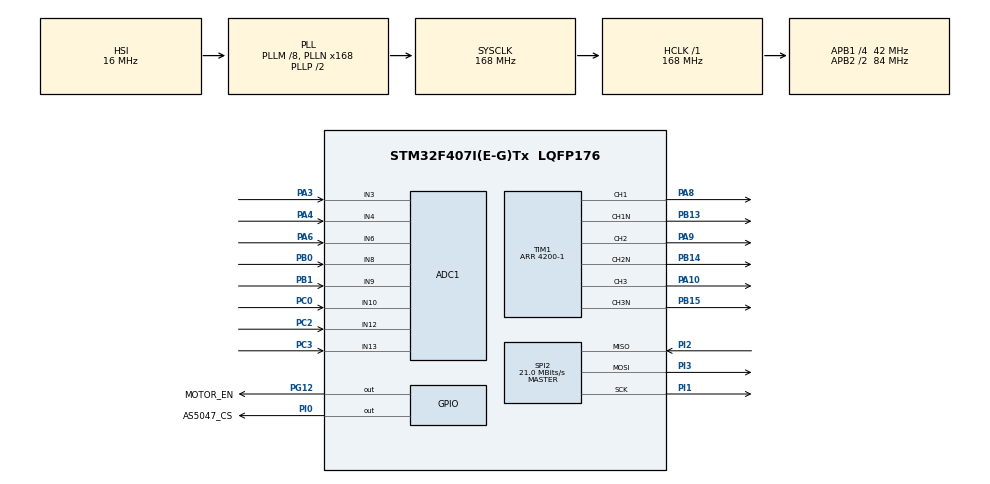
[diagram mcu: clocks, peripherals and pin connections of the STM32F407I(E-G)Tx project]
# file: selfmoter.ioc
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ADC1.Channel-0\#ChannelRegularConversion=ADC_CHANNEL_4
ADC1.NbrOfConversionFlag=1
ADC1.Rank-0\#ChannelRegularConversion=1
ADC1.SamplingTime-0\#ChannelRegularConversion=ADC_SAMPLETIME_3CYCLES
ADC1.master=1
Mcu.Family=STM32F4
Mcu.Name=STM32F407I(E-G)Tx
Mcu.Package=LQFP176
NVIC.PriorityGroup=NVIC_PRIORITYGROUP_4
NVIC.TIM6_DAC_IRQn=true\:0\:0\:false\:false\:true\:true\:true\:true
PA10.Signal=S_TIM1_CH3
PA13.Mode=Serial_Wire
PA13.Signal=SYS_JTMS-SWDIO
PA14.Mode=Serial_Wire
PA14.Signal=SYS_JTCK-SWCLK
PA3.Signal=ADCx_IN3
PA4.Signal=ADCx_IN4
PA6.Signal=ADCx_IN6
PA8.Signal=S_TIM1_CH1
PA9.Signal=S_TIM1_CH2
PB0.Signal=ADCx_IN8
PB1.Signal=ADCx_IN9
PB13.Mode=PWM Generation1 CH1 CH1N
PB13.Signal=TIM1_CH1N
PB14.Mode=PWM Generation2 CH2 CH2N
PB14.Signal=TIM1_CH2N
PB15.Mode=PWM Generation3 CH3 CH3N
PB15.Signal=TIM1_CH3N
PC0.Signal=ADCx_IN10
PC14-OSC32_IN.Mode=LSE-External-Oscillator
PC14-OSC32_IN.Signal=RCC_OSC32_IN
PC15-OSC32_OUT.Mode=LSE-External-Oscillator
PC15-OSC32_OUT.Signal=RCC_OSC32_OUT
PC2.Signal=ADCx_IN12
PC3.Signal=ADCx_IN13
PG12.GPIO_Label=MOTOR_EN
PG12.Signal=GPIO_Output
PH0-OSC_IN.Mode=HSE-External-Oscillator
PH0-OSC_IN.Signal=RCC_OSC_IN
PH1-OSC_OUT.Mode=HSE-External-Oscillator
PH1-OSC_OUT.Signal=RCC_OSC_OUT
PI0.GPIO_Label=AS5047_CS
PI0.GPIO_Speed=GPIO_SPEED_FREQ_VERY_HIGH
PI0.PinState=GPIO_PIN_SET
PI0.Signal=GPIO_Output
PI1.Mode=Full_Duplex_Master
PI1.Signal=SPI2_SCK
PI2.Mode=Full_Duplex_Master
PI2.Signal=SPI2_MISO
PI3.Mode=Full_Duplex_Master
PI3.Signal=SPI2_MOSI
ProjectManager.HeapSize=0x200
ProjectManager.StackSize=0x400
ProjectManager.TargetToolchain=MDK-ARM V5.32
RCC.48MHZClocksFreq_Value=84000000
RCC.AHBFreq_Value=168000000
RCC.APB1CLKDivider=RCC_HCLK_DIV4
RCC.APB1Freq_Value=42000000
RCC.APB1TimFreq_Value=84000000
RCC.APB2CLKDivider=RCC_HCLK_DIV2
RCC.APB2Freq_Value=84000000
RCC.APB2TimFreq_Value=168000000
RCC.CortexFreq_Value=168000000
RCC.HCLKFreq_Value=168000000
RCC.HSE_VALUE=25000000
RCC.HSI_VALUE=16000000
RCC.PLLM=8
RCC.PLLN=168
RCC.SYSCLKFreq_VALUE=168000000
RCC.SYSCLKSource=RCC_SYSCLKSOURCE_PLLCLK
RCC.VCOOutputFreq_Value=336000000
SH.ADCx_IN10.0=ADC1_IN10,IN10
SH.ADCx_IN12.0=ADC1_IN12,IN12
SH.ADCx_IN13.0=ADC1_IN13,IN13
SH.ADCx_IN3.0=ADC1_IN3,IN3
SH.ADCx_IN4.0=ADC1_IN4,IN4
SH.ADCx_IN6.0=ADC1_IN6,IN6
SH.ADCx_IN8.0=ADC1_IN8,IN8
SH.ADCx_IN9.0=ADC1_IN9,IN9
SH.S_TIM1_CH1.0=TIM1_CH1,PWM Generation1 CH1 CH1N
SH.S_TIM1_CH2.0=TIM1_CH2,PWM Generation2 CH2 CH2N
SH.S_TIM1_CH3.0=TIM1_CH3,PWM Generation3 CH3 CH3N
SPI2.CLKPhase=SPI_PHASE_2EDGE
SPI2.CalculateBaudRate=21.0 MBits/s
SPI2.DataSize=SPI_DATASIZE_16BIT
SPI2.Direction=SPI_DIRECTION_2LINES
SPI2.Mode=SPI_MODE_MASTER
SPI2.VirtualType=VM_MASTER
TIM1.Channel-PWM\ Generation1\ CH1\ CH1N=TIM_CHANNEL_1
TIM1.Channel-PWM\ Generation2\ CH2\ CH2N=TIM_CHANNEL_2
TIM1.Channel-PWM\ Generation3\ CH3\ CH3N=TIM_CHANNEL_3
TIM1.CounterMode=TIM_COUNTERMODE_CENTERALIGNED1
TIM1.Period=4200-1
VP_TIM1_VS_ClockSourceINT.Mode=Internal
VP_TIM6_VS_ClockSourceINT.Mode=Enable_Timer
board=custom

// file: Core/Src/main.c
/* USER CODE BEGIN Header */
/**
  ******************************************************************************
  * @file           : main.c
  * @brief          : Main program body.
  ******************************************************************************
  */
/* USER CODE END Header */

#include "main.h"

/*
 * 程序入口阅读导航
 *
 * 建议按以下顺序阅读本工程：
 * 1. main()：完成 HAL、系统时钟和各外设初始化；
 * 2. FOC 应用初始化：建立电机参数、采样零点、编码器和控制器初始状态；
 * 3. 主循环：处理串口命令、按键和低频状态管理；
 * 4. foc_app.c：根据转矩、速度或位置模式生成本周期的控制目标；
 * 5. foc_motor.c：完成电流采样、坐标变换、电流 PI 和 SVPWM 输出。
 *
 * 高频电流环通常由定时器或 ADC 同步中断驱动，而不是依靠主循环速度。
 * 因此不要在高频控制路径中加入 printf、阻塞延时或复杂计算。
 */
#include "adc.h"
#include "spi.h"
#include "tim.h"
#include "gpio.h"

/* USER CODE BEGIN Includes */
#include <math.h>
#include "bsp.h"
#include "foc_hw.h"
/* USER CODE END Includes */

void SystemClock_Config(void);
static void Diagnostic_SetNeutralPwm(void);
static void Motor_OpenLoop_StopPwm(void);
static float FOC_Wrap_0_2PI(float x);
static float FOC_Wrap_Pi(float x);
static void Diagnostic_SetSinPwm(float electrical_angle,
                                 float phase_voltage,
                                 float bus_voltage);
static void Diagnostic_ResetStepSample(void);
static void Diagnostic_AddStepSample(float enc_elec_raw, float cmd_angle);
static void Diagnostic_SaveStepResult(uint32_t step, float cmd_angle);
static void Diagnostic_UpdateScalarDebug(void);
static void Diagnostic_ResetResults(void);
static uint32_t Diagnostic_GetPhaseMap(void);
static void Diagnostic_CheckPhaseMapChange(void);
static void Diagnostic_UpdateISR(void);
static uint8_t AS5047P_EvenParity(uint16_t value);
static uint16_t AS5047P_MakeReadCmd(uint16_t addr);
static uint16_t AS5047P_SPI_Transfer16(uint16_t tx_data);
static uint16_t AS5047P_ReadReg(uint16_t addr);
static uint16_t AS5047P_ReadRawAngle(void);
static void AS5047P_ReadDiagnostics(void);
static void AS5047P_ReadDiagnosticsLowRate(void);
static float AS5047P_ReadMechanicalAngleRad(void);

/* USER CODE BEGIN PD */
/* 电机和诊断测试相关常量. */
#define SFOC_BUS_VOLTAGE              24.0f
#define SFOC_POLE_PAIRS                7.0f
#define SFOC_PWM_FREQ_HZ           20000.0f
#define SFOC_TWO_PI                    6.28318530718f
#define SFOC_PI                        3.14159265359f

/* TIM6 为 20kHz, 诊断循环每 20 个 tick 执行一次, 等效 1kHz. */
#define SFOC_CONTROL_DIVIDER          20U

/* AS5047P 单独测试模式: MOTOR_EN 关闭, TIM1 保持 50% 中点 PWM. */
#define AS5047_ONLY_TEST               0
#define AS5047_POLL_IN_WHILE_TEST      0
#define AS5047_SPI_8BIT_TEST           1
#define AS5047_DIAG_READ_DIVIDER       20U

/* AS5047P 测试得到的方向符号设置. */
#define SFOC_ENCODER_DIR               (-1.0f)
#define MOTOR_SD_DISABLE_LEVEL         GPIO_PIN_RESET

/* 六步相序诊断参数, 用来观察相序和编码器角度对应关系. */
#define DIAG_LOCK_VOLTAGE              0.30f
#define DIAG_RAMP_SEC                  0.10f
#define DIAG_HOLD_SEC                  0.30f
#define DIAG_SAMPLE_LAST_SEC           0.10f
#define DIAG_STEP_COUNT                6U
#define DIAG_STEP_ANGLE_DEG            60.0f
#define DIAG_PHASE_MAP                 0U
#define DIAG_PHASE_MAP_COUNT           6U

/* AS5047P 寄存器地址和数据掩码. */
#define AS5047P_REG_DIAAGC            0x3FFCU
#define AS5047P_REG_MAG               0x3FFDU
#define AS5047P_REG_ANGLEUNC          0x3FFEU
#define AS5047P_REG_ERRFL             0x0001U
#define AS5047P_DATA_MASK             0x3FFFU
#define AS5047P_EF_MASK               0x4000U

/* USER CODE END PD */

/* USER CODE BEGIN PV */

volatile uint32_t g_tim6_debug_count = 0;

volatile uint8_t  g_diag_enable = 0;
volatile uint32_t g_diag_tick = 0;
volatile uint32_t g_diag_div_count = 0;

volatile uint32_t g_diag_step_index = 0;
volatile uint32_t g_diag_cycle_count = 0;
volatile uint32_t g_diag_phase_map = DIAG_PHASE_MAP;
volatile uint8_t  g_diag_ramp_active = 0;
volatile float g_diag_ramp_progress = 0.0f;

volatile float g_diag_cmd_elec_angle = 0.0f;
volatile float g_diag_cmd_elec_angle_deg = 0.0f;

volatile float g_diag_encoder_mech_angle = 0.0f;
volatile float g_diag_encoder_mech_angle_deg = 0.0f;
volatile float g_diag_encoder_elec_angle = 0.0f;
volatile float g_diag_encoder_elec_angle_deg = 0.0f;

volatile float g_diag_current_diff = 0.0f;
volatile float g_diag_current_diff_deg = 0.0f;

volatile float g_debug_ud = 0.0f;
volatile float g_debug_uq = 0.0f;
volatile float g_debug_angle = 0.0f;
volatile float g_debug_rpm = 0.0f;

volatile float g_debug_duty_a = 0.0f;
volatile float g_debug_duty_b = 0.0f;
volatile float g_debug_duty_c = 0.0f;

volatile uint16_t g_as5047_raw = 0;
volatile uint16_t g_as5047_last_rx = 0;
volatile float g_as5047_angle_rad = 0.0f;
volatile float g_as5047_angle_deg = 0.0f;
volatile uint32_t g_as5047_error_count = 0;

volatile uint16_t g_as5047_diaagc_raw = 0;
volatile uint8_t  g_as5047_magl = 0;
volatile uint8_t  g_as5047_magh = 0;
volatile uint8_t  g_as5047_cof = 0;
volatile uint8_t  g_as5047_lf = 0;
volatile uint8_t  g_as5047_agc = 0;
volatile uint16_t g_as5047_mag_value = 0;

volatile uint32_t g_as5047_zero_rx_count = 0;
volatile uint32_t g_as5047_zero_angle_count = 0;
volatile uint32_t g_as5047_zero_diaagc_count = 0;
volatile uint32_t g_as5047_zero_mag_count = 0;

volatile uint16_t g_as5047_angle_raw_frame = 0;
volatile uint16_t g_as5047_diaagc_raw_frame = 0;
volatile uint16_t g_as5047_mag_raw_frame = 0;

/*
 *
 *
 */
volatile uint8_t g_diag_step_valid[DIAG_STEP_COUNT];

volatile float g_diag_step_cmd_deg[DIAG_STEP_COUNT];
volatile float g_diag_step_enc_mech_deg[DIAG_STEP_COUNT];
volatile float g_diag_step_enc_elec_deg[DIAG_STEP_COUNT];
volatile float g_diag_step_diff_deg[DIAG_STEP_COUNT];
volatile float g_diag_step_delta_deg[DIAG_STEP_COUNT];

/*
 *
 */
static float g_sample_sin_sum = 0.0f;
static float g_sample_cos_sum = 0.0f;
static uint32_t g_sample_count = 0;

static uint32_t g_last_step_index = 0xFFFFFFFFU;
static float g_last_cmd_angle = 0.0f;
static uint32_t g_last_phase_map = 0xFFFFFFFFU;

volatile float g_step0_delta_deg = 0.0f;
volatile float g_step1_delta_deg = 0.0f;
volatile float g_step2_delta_deg = 0.0f;
volatile float g_step3_delta_deg = 0.0f;
volatile float g_step4_delta_deg = 0.0f;
volatile float g_step5_delta_deg = 0.0f;

volatile float g_step0_enc_elec_deg = 0.0f;
volatile float g_step1_enc_elec_deg = 0.0f;
volatile float g_step2_enc_elec_deg = 0.0f;
volatile float g_step3_enc_elec_deg = 0.0f;
volatile float g_step4_enc_elec_deg = 0.0f;
volatile float g_step5_enc_elec_deg = 0.0f;

volatile float g_step0_diff_deg = 0.0f;
volatile float g_step1_diff_deg = 0.0f;
volatile float g_step2_diff_deg = 0.0f;
volatile float g_step3_diff_deg = 0.0f;
volatile float g_step4_diff_deg = 0.0f;
volatile float g_step5_diff_deg = 0.0f;

/* USER CODE END PV */

/* USER CODE BEGIN 0 */
static void Diagnostic_SetNeutralPwm(void)
{
  uint32_t half;

  half = (__HAL_TIM_GET_AUTORELOAD(&htim1) + 1U) / 2U;

  __HAL_TIM_SET_COMPARE(&htim1, TIM_CHANNEL_1, half);
  __HAL_TIM_SET_COMPARE(&htim1, TIM_CHANNEL_2, half);
  __HAL_TIM_SET_COMPARE(&htim1, TIM_CHANNEL_3, half);

  g_debug_duty_a = 0.5f;
  g_debug_duty_b = 0.5f;
  g_debug_duty_c = 0.5f;

  g_debug_ud = 0.0f;
  g_debug_uq = 0.0f;
}

static void Motor_OpenLoop_StopPwm(void)
{
  uint32_t half;

  g_diag_enable = 0;

  half = (__HAL_TIM_GET_AUTORELOAD(&htim1) + 1U) / 2U;

  __HAL_TIM_SET_COMPARE(&htim1, TIM_CHANNEL_1, half);
  __HAL_TIM_SET_COMPARE(&htim1, TIM_CHANNEL_2, half);
  __HAL_TIM_SET_COMPARE(&htim1, TIM_CHANNEL_3, half);

  HAL_GPIO_WritePin(MOTOR_EN_GPIO_Port,
                    MOTOR_EN_Pin,
                    MOTOR_SD_DISABLE_LEVEL);

  HAL_TIM_PWM_Stop(&htim1, TIM_CHANNEL_1);
  HAL_TIMEx_PWMN_Stop(&htim1, TIM_CHANNEL_1);

  HAL_TIM_PWM_Stop(&htim1, TIM_CHANNEL_2);
  HAL_TIMEx_PWMN_Stop(&htim1, TIM_CHANNEL_2);

  HAL_TIM_PWM_Stop(&htim1, TIM_CHANNEL_3);
  HAL_TIMEx_PWMN_Stop(&htim1, TIM_CHANNEL_3);
}

static float FOC_Wrap_0_2PI(float x)
{
  while (x >= SFOC_TWO_PI)
  {
    x -= SFOC_TWO_PI;
  }

  while (x < 0.0f)
  {
    x += SFOC_TWO_PI;
  }

  return x;
}

static float FOC_Wrap_Pi(float x)
{
  while (x > SFOC_PI)
  {
    x -= SFOC_TWO_PI;
  }

  while (x < -SFOC_PI)
  {
    x += SFOC_TWO_PI;
  }

  return x;
}

/*
 * 诊断用三相正弦 PWM 输出.
 * electrical_angle 是给定电角度, phase_voltage 是相电压幅值.
 */
static void Diagnostic_SetSinPwm(float electrical_angle,
                                 float phase_voltage,
                                 float bus_voltage)
{
  float m;
  uint32_t phase_map;

  float u_base;
  float v_base;
  float w_base;

  float u_out;
  float v_out;
  float w_out;

  float duty_a;
  float duty_b;
  float duty_c;

  uint32_t arr;
  uint32_t ccr_a;
  uint32_t ccr_b;
  uint32_t ccr_c;

  m = 2.0f * phase_voltage / bus_voltage;

  if (m > 0.20f)
  {
    m = 0.20f;
  }

  if (m < 0.0f)
  {
    m = 0.0f;
  }

  u_base = sinf(electrical_angle);
  v_base = sinf(electrical_angle - 2.09439510239f);
  w_base = sinf(electrical_angle + 2.09439510239f);

  phase_map = Diagnostic_GetPhaseMap();

  switch (phase_map)
  {
    case 0U:     /* U V W */
      u_out = u_base;
      v_out = v_base;
      w_out = w_base;
      break;

    case 1U:     /* U W V */
      u_out = u_base;
      v_out = w_base;
      w_out = v_base;
      break;

    case 2U:     /* V U W */
      u_out = v_base;
      v_out = u_base;
      w_out = w_base;
      break;

    case 3U:     /* V W U */
      u_out = v_base;
      v_out = w_base;
      w_out = u_base;
      break;

    case 4U:     /* W U V */
      u_out = w_base;
      v_out = u_base;
      w_out = v_base;
      break;

    default:     /* 5 = W V U */
      u_out = w_base;
      v_out = v_base;
      w_out = u_base;
      break;
  }

  duty_a = 0.5f + 0.5f * m * u_out;
  duty_b = 0.5f + 0.5f * m * v_out;
  duty_c = 0.5f + 0.5f * m * w_out;

  if (duty_a < 0.02f) duty_a = 0.02f;
  if (duty_a > 0.98f) duty_a = 0.98f;

  if (duty_b < 0.02f) duty_b = 0.02f;
  if (duty_b > 0.98f) duty_b = 0.98f;

  if (duty_c < 0.02f) duty_c = 0.02f;
  if (duty_c > 0.98f) duty_c = 0.98f;

  g_debug_duty_a = duty_a;
  g_debug_duty_b = duty_b;
  g_debug_duty_c = duty_c;

  arr = __HAL_TIM_GET_AUTORELOAD(&htim1) + 1U;

  ccr_a = (uint32_t)(duty_a * (float)arr);
  ccr_b = (uint32_t)(duty_b * (float)arr);
  ccr_c = (uint32_t)(duty_c * (float)arr);

  if (ccr_a >= arr) ccr_a = arr - 1U;
  if (ccr_b >= arr) ccr_b = arr - 1U;
  if (ccr_c >= arr) ccr_c = arr - 1U;

  __HAL_TIM_SET_COMPARE(&htim1, TIM_CHANNEL_1, ccr_a);
  __HAL_TIM_SET_COMPARE(&htim1, TIM_CHANNEL_2, ccr_b);
  __HAL_TIM_SET_COMPARE(&htim1, TIM_CHANNEL_3, ccr_c);
}

static void Diagnostic_ResetStepSample(void)
{
  g_sample_sin_sum = 0.0f;
  g_sample_cos_sum = 0.0f;
  g_sample_count = 0U;

  g_diag_current_diff = 0.0f;
  g_diag_current_diff_deg = 0.0f;
}

/*
 *
 */
static void Diagnostic_AddStepSample(float enc_elec_raw, float cmd_angle)
{
  float avg;
  float diff;

  g_sample_sin_sum += sinf(enc_elec_raw);
  g_sample_cos_sum += cosf(enc_elec_raw);
  g_sample_count++;

  avg = atan2f(g_sample_sin_sum, g_sample_cos_sum);
  avg = FOC_Wrap_0_2PI(avg);

  diff = FOC_Wrap_Pi(cmd_angle - avg);

  g_diag_current_diff = diff;
  g_diag_current_diff_deg = diff * 180.0f / SFOC_PI;
}

/*
 *
 */
static void Diagnostic_SaveStepResult(uint32_t step, float cmd_angle)
{
  float avg;
  float diff;
  float delta;
  uint32_t prev;

  if (step >= DIAG_STEP_COUNT)
  {
    return;
  }

  if (g_sample_count == 0U)
  {
    return;
  }

  avg = atan2f(g_sample_sin_sum, g_sample_cos_sum);
  avg = FOC_Wrap_0_2PI(avg);

  diff = FOC_Wrap_Pi(cmd_angle - avg);

  g_diag_step_valid[step] = 1U;

  g_diag_step_cmd_deg[step] =
      cmd_angle * 180.0f / SFOC_PI;

  g_diag_step_enc_elec_deg[step] =
      avg * 180.0f / SFOC_PI;

  g_diag_step_enc_mech_deg[step] =
      g_diag_encoder_mech_angle_deg;

  g_diag_step_diff_deg[step] =
      diff * 180.0f / SFOC_PI;

  /*
   *
   *
   */
  if (step == 0U)
  {
    prev = DIAG_STEP_COUNT - 1U;
  }
  else
  {
    prev = step - 1U;
  }

  if (g_diag_step_valid[prev] != 0U)
  {
    delta =
        FOC_Wrap_Pi((g_diag_step_enc_elec_deg[step] -
                     g_diag_step_enc_elec_deg[prev]) *
                    SFOC_PI / 180.0f);

    g_diag_step_delta_deg[step] =
        delta * 180.0f / SFOC_PI;
  }
  else
  {
    g_diag_step_delta_deg[step] = 0.0f;
  }
	Diagnostic_UpdateScalarDebug();
}

static void Diagnostic_UpdateScalarDebug(void)
{
  g_step0_delta_deg = g_diag_step_delta_deg[0];
  g_step1_delta_deg = g_diag_step_delta_deg[1];
  g_step2_delta_deg = g_diag_step_delta_deg[2];
  g_step3_delta_deg = g_diag_step_delta_deg[3];
  g_step4_delta_deg = g_diag_step_delta_deg[4];
  g_step5_delta_deg = g_diag_step_delta_deg[5];

  g_step0_enc_elec_deg = g_diag_step_enc_elec_deg[0];
  g_step1_enc_elec_deg = g_diag_step_enc_elec_deg[1];
  g_step2_enc_elec_deg = g_diag_step_enc_elec_deg[2];
  g_step3_enc_elec_deg = g_diag_step_enc_elec_deg[3];
  g_step4_enc_elec_deg = g_diag_step_enc_elec_deg[4];
  g_step5_enc_elec_deg = g_diag_step_enc_elec_deg[5];

  g_step0_diff_deg = g_diag_step_diff_deg[0];
  g_step1_diff_deg = g_diag_step_diff_deg[1];
  g_step2_diff_deg = g_diag_step_diff_deg[2];
  g_step3_diff_deg = g_diag_step_diff_deg[3];
  g_step4_diff_deg = g_diag_step_diff_deg[4];
  g_step5_diff_deg = g_diag_step_diff_deg[5];
}

static void Diagnostic_ResetResults(void)
{
  uint32_t i;

  g_diag_tick = 0U;
  g_diag_div_count = 0U;
  g_diag_step_index = 0U;
  g_diag_cycle_count = 0U;
  g_diag_ramp_active = 0U;
  g_diag_ramp_progress = 0.0f;

  g_diag_cmd_elec_angle = 0.0f;
  g_diag_cmd_elec_angle_deg = 0.0f;

  g_diag_encoder_mech_angle = 0.0f;
  g_diag_encoder_mech_angle_deg = 0.0f;
  g_diag_encoder_elec_angle = 0.0f;
  g_diag_encoder_elec_angle_deg = 0.0f;

  g_diag_current_diff = 0.0f;
  g_diag_current_diff_deg = 0.0f;

  for (i = 0U; i < DIAG_STEP_COUNT; i++)
  {
    g_diag_step_valid[i] = 0U;
    g_diag_step_cmd_deg[i] = 0.0f;
    g_diag_step_enc_mech_deg[i] = 0.0f;
    g_diag_step_enc_elec_deg[i] = 0.0f;
    g_diag_step_diff_deg[i] = 0.0f;
    g_diag_step_delta_deg[i] = 0.0f;
  }

  Diagnostic_ResetStepSample();
  Diagnostic_UpdateScalarDebug();

  g_last_step_index = 0xFFFFFFFFU;
  g_last_cmd_angle = 0.0f;
}

static uint32_t Diagnostic_GetPhaseMap(void)
{
  uint32_t phase_map;

  phase_map = g_diag_phase_map;

  if (phase_map >= DIAG_PHASE_MAP_COUNT)
  {
    phase_map = 0U;
    g_diag_phase_map = 0U;
  }

  return phase_map;
}

static void Diagnostic_CheckPhaseMapChange(void)
{
  uint32_t phase_map;

  phase_map = Diagnostic_GetPhaseMap();

  if (g_last_phase_map != phase_map)
  {
    g_last_phase_map = phase_map;
    Diagnostic_ResetResults();
  }
}

static void Diagnostic_UpdateISR(void)
{
  float mech_angle;
  float enc_elec_raw;
  float cmd_angle;
  float step_angle_rad;
  float target_angle;
  float target_unwrapped;
  float previous_unwrapped;
  float ramp_progress;
  float diff;

  uint32_t ramp_ticks;
  uint32_t hold_ticks;
  uint32_t step_ticks;
  uint32_t sample_start_tick;
  uint32_t step_index;
  uint32_t tick_in_step;
  uint32_t sample_ticks;
  uint32_t total_step_count;

  if (g_diag_enable == 0U)
  {
    return;
  }

  /*
   *
   */
  g_diag_div_count++;

  if (g_diag_div_count < SFOC_CONTROL_DIVIDER)
  {
    return;
  }

  g_diag_div_count = 0;

  /*
   *
   */
  mech_angle = AS5047P_ReadMechanicalAngleRad();
  AS5047P_ReadDiagnosticsLowRate();

  enc_elec_raw =
      FOC_Wrap_0_2PI(mech_angle *
                     SFOC_POLE_PAIRS *
                     SFOC_ENCODER_DIR);

  if ((AS5047_ONLY_TEST != 0) ||
      (AS5047_POLL_IN_WHILE_TEST != 0))
  {
    Diagnostic_SetNeutralPwm();

    HAL_GPIO_WritePin(MOTOR_EN_GPIO_Port,
                      MOTOR_EN_Pin,
                      MOTOR_SD_DISABLE_LEVEL);

    g_diag_step_index = 0U;
    g_diag_ramp_active = 0U;
    g_diag_ramp_progress = 0.0f;

    g_diag_cmd_elec_angle = 0.0f;
    g_diag_cmd_elec_angle_deg = 0.0f;

    g_diag_encoder_mech_angle = mech_angle;
    g_diag_encoder_mech_angle_deg =
        mech_angle * 180.0f / SFOC_PI;

    g_diag_encoder_elec_angle = enc_elec_raw;
    g_diag_encoder_elec_angle_deg =
        enc_elec_raw * 180.0f / SFOC_PI;

    g_diag_current_diff = 0.0f;
    g_diag_current_diff_deg = 0.0f;

    g_debug_angle = 0.0f;
    g_debug_ud = 0.0f;
    g_debug_uq = 0.0f;
    g_debug_rpm = 0.0f;

    g_diag_tick++;
    return;
  }

  Diagnostic_CheckPhaseMapChange();

  ramp_ticks =
      (uint32_t)(DIAG_RAMP_SEC *
                 SFOC_PWM_FREQ_HZ /
                 (float)SFOC_CONTROL_DIVIDER);

  hold_ticks =
      (uint32_t)(DIAG_HOLD_SEC *
                 SFOC_PWM_FREQ_HZ /
                 (float)SFOC_CONTROL_DIVIDER);

  if (hold_ticks == 0U)
  {
    hold_ticks = 1U;
  }

  step_ticks =
      ramp_ticks + hold_ticks;

  if (step_ticks == 0U)
  {
    step_ticks = 1U;
  }

  sample_ticks =
      (uint32_t)(DIAG_SAMPLE_LAST_SEC *
                 SFOC_PWM_FREQ_HZ /
                 (float)SFOC_CONTROL_DIVIDER);

  if (sample_ticks == 0U)
  {
    sample_ticks = 1U;
  }

  if (sample_ticks > hold_ticks)
  {
    sample_ticks = hold_ticks;
  }

  sample_start_tick = step_ticks - sample_ticks;

  total_step_count = g_diag_tick / step_ticks;
  step_index = total_step_count % DIAG_STEP_COUNT;
  tick_in_step = g_diag_tick % step_ticks;

  step_angle_rad = DIAG_STEP_ANGLE_DEG * SFOC_PI / 180.0f;

  target_unwrapped = ((float)total_step_count) * step_angle_rad;
  target_angle = FOC_Wrap_0_2PI(target_unwrapped);

  cmd_angle = target_angle;
  g_diag_ramp_active = 0U;
  g_diag_ramp_progress = 1.0f;

  if ((total_step_count > 0U) &&
      (ramp_ticks > 0U) &&
      (tick_in_step < ramp_ticks))
  {
    previous_unwrapped = target_unwrapped - step_angle_rad;
    ramp_progress = ((float)tick_in_step) / (float)ramp_ticks;

    cmd_angle =
        FOC_Wrap_0_2PI(previous_unwrapped +
                      (step_angle_rad * ramp_progress));

    g_diag_ramp_active = 1U;
    g_diag_ramp_progress = ramp_progress;
  }

  /*
   *
   */
  if (g_last_step_index != step_index)
  {
    if (g_last_step_index < DIAG_STEP_COUNT)
    {
      Diagnostic_SaveStepResult(g_last_step_index, g_last_cmd_angle);

      if ((g_last_step_index == (DIAG_STEP_COUNT - 1U)) &&
          (step_index == 0U))
      {
        g_diag_cycle_count++;
      }
    }

    Diagnostic_ResetStepSample();

    g_last_step_index = step_index;
    g_last_cmd_angle = target_angle;
  }

  /*
   *
   */
  Diagnostic_SetSinPwm(cmd_angle,
                       DIAG_LOCK_VOLTAGE,
                       SFOC_BUS_VOLTAGE);
  /*
   *
   */
  diff = FOC_Wrap_Pi(cmd_angle - enc_elec_raw);

  g_diag_step_index = step_index;

  g_diag_cmd_elec_angle = cmd_angle;
  g_diag_cmd_elec_angle_deg =
      cmd_angle * 180.0f / SFOC_PI;

  g_diag_encoder_mech_angle = mech_angle;
  g_diag_encoder_mech_angle_deg =
      mech_angle * 180.0f / SFOC_PI;

  g_diag_encoder_elec_angle = enc_elec_raw;
  g_diag_encoder_elec_angle_deg =
      enc_elec_raw * 180.0f / SFOC_PI;

  g_diag_current_diff = diff;
  g_diag_current_diff_deg =
      diff * 180.0f / SFOC_PI;

  /*
   *
   */
  if (tick_in_step >= sample_start_tick)
  {
    Diagnostic_AddStepSample(enc_elec_raw, target_angle);
  }

  g_debug_angle = cmd_angle;
  g_debug_ud =  0.0f;
  g_debug_uq = 0.0f;
  g_debug_rpm = 0.0f;

  g_diag_tick++;
}

static uint8_t AS5047P_EvenParity(uint16_t value)
{
  uint8_t parity = 0;

  while (value != 0U)
  {
    parity ^= (uint8_t)(value & 0x0001U);
    value >>= 1U;
  }

  return parity;
}

static uint16_t AS5047P_MakeReadCmd(uint16_t addr)
{
  uint16_t cmd;

  /*
   * AS5047P 读命令格式:
   * bit14 = 1 表示读寄存器, bit15 为偶校验位.
   */
  cmd = 0x4000U | (addr & 0x3FFFU);

  /* 如果当前 16bit 中 1 的个数为奇数, 置 bit15 让整帧变成偶校验. */
  if (AS5047P_EvenParity(cmd))
  {
    cmd |= 0x8000U;
  }

  return cmd;
}

static uint16_t AS5047P_SPI_Transfer16(uint16_t tx_data)
{
#if AS5047_SPI_8BIT_TEST
  uint8_t tx_buf[2];
  uint8_t rx_buf[2];
#endif
  uint16_t rx_data = 0;
  volatile uint32_t delay_count;

#if AS5047_SPI_8BIT_TEST
  tx_buf[0] = (uint8_t)(tx_data >> 8);
  tx_buf[1] = (uint8_t)(tx_data & 0x00FFU);
  rx_buf[0] = 0U;
  rx_buf[1] = 0U;
#endif

  HAL_GPIO_WritePin(AS5047_CS_GPIO_Port,
                    AS5047_CS_Pin,
                    GPIO_PIN_RESET);

  for (delay_count = 0U; delay_count < 200U; delay_count++)
  {
    __NOP();
  }

#if AS5047_SPI_8BIT_TEST
  if (HAL_SPI_TransmitReceive(&hspi2,
                              tx_buf,
                              rx_buf,
                              2,
                              10) != HAL_OK)
#else
  if (HAL_SPI_TransmitReceive(&hspi2,
                              (uint8_t *)&tx_data,
                              (uint8_t *)&rx_data,
                              1,
                              10) != HAL_OK)
#endif
  {
    g_as5047_error_count++;
  }

#if AS5047_SPI_8BIT_TEST
  rx_data = ((uint16_t)rx_buf[0] << 8) | (uint16_t)rx_buf[1];
#endif

  for (delay_count = 0U; delay_count < 200U; delay_count++)
  {
    __NOP();
  }

  HAL_GPIO_WritePin(AS5047_CS_GPIO_Port,
                    AS5047_CS_Pin,
                    GPIO_PIN_SET);

  for (delay_count = 0U; delay_count < 200U; delay_count++)
  {
    __NOP();
  }

  g_as5047_last_rx = rx_data;

  if (rx_data == 0U)
  {
    g_as5047_zero_rx_count++;
  }

  return rx_data;
}

static uint16_t AS5047P_ReadReg(uint16_t addr)
{
  uint16_t cmd;
  uint16_t rx;
  uint16_t data;

  cmd = AS5047P_MakeReadCmd(addr);

  /*
   *
   *
   *
   */
  AS5047P_SPI_Transfer16(cmd);
  rx = AS5047P_SPI_Transfer16(0x0000U);
  data = rx & AS5047P_DATA_MASK;

  switch (addr & AS5047P_DATA_MASK)
  {
    case AS5047P_REG_ANGLEUNC:
      g_as5047_angle_raw_frame = rx;

      if (data == 0U)
      {
        g_as5047_zero_angle_count++;
      }
      break;

    case AS5047P_REG_DIAAGC:
      g_as5047_diaagc_raw_frame = rx;

      if (data == 0U)
      {
        g_as5047_zero_diaagc_count++;
      }
      break;

    case AS5047P_REG_MAG:
      g_as5047_mag_raw_frame = rx;

      if (data == 0U)
      {
        g_as5047_zero_mag_count++;
      }
      break;

    default:
      break;
  }

  if ((rx & AS5047P_EF_MASK) != 0U)
  {
    g_as5047_error_count++;

    /*
     *
     */
    AS5047P_SPI_Transfer16(AS5047P_MakeReadCmd(AS5047P_REG_ERRFL));
    AS5047P_SPI_Transfer16(0x0000U);
  }

  return data;
}

static uint16_t AS5047P_ReadRawAngle(void)
{
  uint16_t raw;

  raw = AS5047P_ReadReg(AS5047P_REG_ANGLEUNC);

  g_as5047_raw = raw;
  g_as5047_angle_rad =
      ((float)raw) * SFOC_TWO_PI / 16384.0f;

  g_as5047_angle_deg =
      ((float)raw) * 360.0f / 16384.0f;

  return raw;
}

static void AS5047P_ReadDiagnostics(void)
{
  uint16_t diaagc;
  uint16_t mag;

  diaagc = AS5047P_ReadReg(AS5047P_REG_DIAAGC);
  mag = AS5047P_ReadReg(AS5047P_REG_MAG);

  g_as5047_diaagc_raw = diaagc;
  g_as5047_magl = (uint8_t)((diaagc >> 11) & 0x0001U);
  g_as5047_magh = (uint8_t)((diaagc >> 10) & 0x0001U);
  g_as5047_cof = (uint8_t)((diaagc >> 9) & 0x0001U);
  g_as5047_lf = (uint8_t)((diaagc >> 8) & 0x0001U);
  g_as5047_agc = (uint8_t)(diaagc & 0x00FFU);
  g_as5047_mag_value = mag & AS5047P_DATA_MASK;
}

static void AS5047P_ReadDiagnosticsLowRate(void)
{
  static uint32_t diag_read_div_count = 0U;

  diag_read_div_count++;

  if (diag_read_div_count >= AS5047_DIAG_READ_DIVIDER)
  {
    diag_read_div_count = 0U;
    AS5047P_ReadDiagnostics();
  }
}

static float AS5047P_ReadMechanicalAngleRad(void)
{
  uint16_t raw;

  raw = AS5047P_ReadRawAngle();

  return ((float)raw) * SFOC_TWO_PI / 16384.0f;
}

/* USER CODE END 0 */

int main(void)
{
  HAL_Init();

  SystemClock_Config();

  /* Bring the debug UART up before any peripheral that may call Error_Handler().
   * This makes an early ADC/SPI/TIM initialization failure visible on CH340. */
  uart_init(115200);
  printf("\r\n[EARLY_BOOT] clock=OK sysclk=%lu pclk1=%lu pclk2=%lu\r\n",
         (unsigned long)HAL_RCC_GetSysClockFreq(),
         (unsigned long)HAL_RCC_GetPCLK1Freq(),
         (unsigned long)HAL_RCC_GetPCLK2Freq());

  MX_GPIO_Init();
  printf("[EARLY_BOOT] gpio=OK\r\n");
  MX_ADC1_Init();
  printf("[EARLY_BOOT] adc1=OK\r\n");
  MX_SPI2_Init();
  printf("[EARLY_BOOT] spi2=OK\r\n");
#if AS5047_SPI_8BIT_TEST
  HAL_SPI_DeInit(&hspi2);
  hspi2.Init.DataSize = SPI_DATASIZE_8BIT;
  /* Keep the 8-bit transfer compatibility mode at the same conservative
   * AS5047P clock configured by MX_SPI2_Init(). */
  hspi2.Init.BaudRatePrescaler = SPI_BAUDRATEPRESCALER_128;
  if (HAL_SPI_Init(&hspi2) != HAL_OK)
  {
    Error_Handler();
  }
#endif
  MX_TIM1_Init();
  printf("[EARLY_BOOT] tim1=OK\r\n");
  MX_TIM6_Init();
  printf("[EARLY_BOOT] tim6=OK\r\n");

  /* USER CODE BEGIN 2 */

  Diagnostic_SetNeutralPwm();
  HAL_GPIO_WritePin(MOTOR_EN_GPIO_Port,
                    MOTOR_EN_Pin,
                    MOTOR_SD_DISABLE_LEVEL);
  HAL_GPIO_WritePin(AS5047_CS_GPIO_Port,
                    AS5047_CS_Pin,
                    GPIO_PIN_SET);

  HAL_Delay(100);

  BSP_Init();
  printf("[EARLY_BOOT] bsp_foc=OK entering main loop\r\n");

  /* USER CODE END 2 */

  uint32_t last_status_tick = 0U;
  uint32_t last_current_log_tick = 0U;

  while (1)
  {
    BSP_DebugUartPollCommands();
    BSP_KeyPoll();

    if (FOC_Debug_CurrentCsvEnabled())
    {
      uint32_t vofa_period_ms = FOC_Debug_GetVofaPeriodMs();

      if ((HAL_GetTick() - last_current_log_tick) >= vofa_period_ms)
      {
        last_current_log_tick = HAL_GetTick();
        FOC_Debug_PrintCurrentCsv();
      }
    }
    else if ((HAL_GetTick() - last_status_tick) >= 1000U)
    {
      last_status_tick = HAL_GetTick();
      FOC_Debug_PrintStatus();
    }

    /* 主循环保持 1 ms 轮询，用于串口命令和 VOFA 曲线输出。 */
    HAL_Delay(1);
  }
}
void SystemClock_Config(void)
{
  RCC_OscInitTypeDef RCC_OscInitStruct = {0};
  RCC_ClkInitTypeDef RCC_ClkInitStruct = {0};

  __HAL_RCC_PWR_CLK_ENABLE();
  __HAL_PWR_VOLTAGESCALING_CONFIG(PWR_REGULATOR_VOLTAGE_SCALE1);

  RCC_OscInitStruct.OscillatorType = RCC_OSCILLATORTYPE_HSI;
  RCC_OscInitStruct.HSIState = RCC_HSI_ON;
  RCC_OscInitStruct.HSICalibrationValue =
      RCC_HSICALIBRATION_DEFAULT;

  RCC_OscInitStruct.PLL.PLLState = RCC_PLL_ON;
  RCC_OscInitStruct.PLL.PLLSource = RCC_PLLSOURCE_HSI;
  RCC_OscInitStruct.PLL.PLLM = 8;
  RCC_OscInitStruct.PLL.PLLN = 168;
  RCC_OscInitStruct.PLL.PLLP = RCC_PLLP_DIV2;
  RCC_OscInitStruct.PLL.PLLQ = 4;

  if (HAL_RCC_OscConfig(&RCC_OscInitStruct) != HAL_OK)
  {
    Error_Handler();
  }

  RCC_ClkInitStruct.ClockType = RCC_CLOCKTYPE_HCLK |
                                RCC_CLOCKTYPE_SYSCLK |
                                RCC_CLOCKTYPE_PCLK1 |
                                RCC_CLOCKTYPE_PCLK2;

  RCC_ClkInitStruct.SYSCLKSource = RCC_SYSCLKSOURCE_PLLCLK;
  RCC_ClkInitStruct.AHBCLKDivider = RCC_SYSCLK_DIV1;
  RCC_ClkInitStruct.APB1CLKDivider = RCC_HCLK_DIV4;
  RCC_ClkInitStruct.APB2CLKDivider = RCC_HCLK_DIV2;

  if (HAL_RCC_ClockConfig(&RCC_ClkInitStruct,
                          FLASH_LATENCY_5) != HAL_OK)
  {
    Error_Handler();
  }
}

/* USER CODE BEGIN 4 */

void Motor_OpenLoop_Tim6Callback(void)
{
  g_tim6_debug_count++;
  Diagnostic_UpdateISR();
}

/* USER CODE END 4 */

void Error_Handler(void)
{
  printf("[ERR] Error_Handler\r\n");
  __disable_irq();

  Motor_OpenLoop_StopPwm();

  while (1)
  {
  }
}
